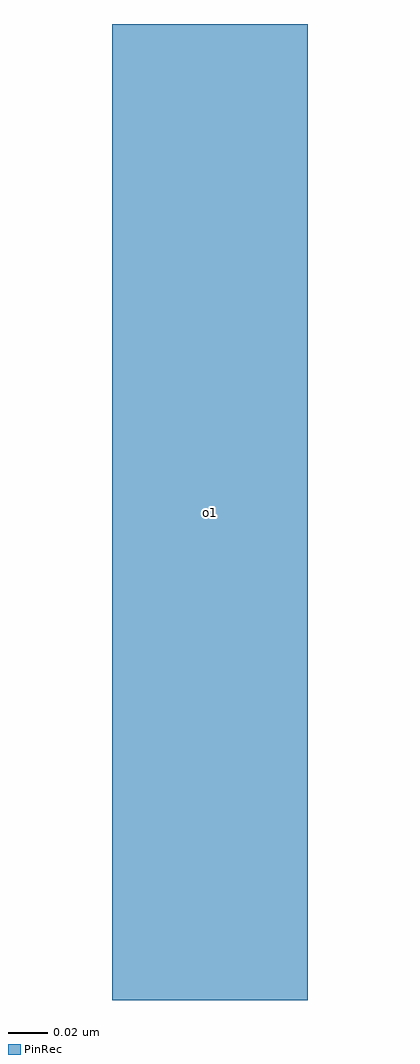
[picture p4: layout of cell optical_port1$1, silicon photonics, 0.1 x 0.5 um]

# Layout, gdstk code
import gdstk
lib = gdstk.Library(unit=1e-6, precision=1e-09)
PinRec = (1, 10)

optical_port1_1 = lib.new_cell('optical_port1$1')
optical_port1_1.add(gdstk.FlexPath([(0.05,0),(-0.05,0)], 0.5, ends="flush", simple_path=True, layer=1, datatype=10))  # PinRec
optical_port1_1.add(gdstk.FlexPath([(0.05,0),(-0.05,0)], 0.5, ends="flush", simple_path=True, layer=1, datatype=10))  # PinRec
optical_port1_1.add(gdstk.FlexPath([(0.05,0),(-0.05,0)], 0.5, ends="flush", simple_path=True, layer=1, datatype=10))  # PinRec
optical_port1_1.add(gdstk.FlexPath([(0.05,0),(-0.05,0)], 0.5, ends="flush", simple_path=True, layer=1, datatype=10))  # PinRec
optical_port1_1.add(gdstk.FlexPath([(0.05,0),(-0.05,0)], 0.5, ends="flush", simple_path=True, layer=1, datatype=10))  # PinRec
optical_port1_1.add(gdstk.FlexPath([(0.05,0),(-0.05,0)], 0.5, ends="flush", simple_path=True, layer=1, datatype=10))  # PinRec
optical_port1_1.add(gdstk.FlexPath([(0.05,0),(-0.05,0)], 0.5, ends="flush", simple_path=True, layer=1, datatype=10))  # PinRec
optical_port1_1.add(gdstk.FlexPath([(0.05,0),(-0.05,0)], 0.5, ends="flush", simple_path=True, layer=1, datatype=10))  # PinRec
optical_port1_1.add(gdstk.FlexPath([(0.05,0),(-0.05,0)], 0.5, ends="flush", simple_path=True, layer=1, datatype=10))  # PinRec
optical_port1_1.add(gdstk.FlexPath([(0.05,0),(-0.05,0)], 0.5, ends="flush", simple_path=True, layer=1, datatype=10))  # PinRec
optical_port1_1.add(gdstk.FlexPath([(0.05,0),(-0.05,0)], 0.5, ends="flush", simple_path=True, layer=1, datatype=10))  # PinRec
optical_port1_1.add(gdstk.FlexPath([(0.05,0),(-0.05,0)], 0.5, ends="flush", simple_path=True, layer=1, datatype=10))  # PinRec
optical_port1_1.add(gdstk.FlexPath([(0.05,0),(-0.05,0)], 0.5, ends="flush", simple_path=True, layer=1, datatype=10))  # PinRec
optical_port1_1.add(gdstk.FlexPath([(0.05,0),(-0.05,0)], 0.5, ends="flush", simple_path=True, layer=1, datatype=10))  # PinRec
optical_port1_1.add(gdstk.FlexPath([(0.05,0),(-0.05,0)], 0.5, ends="flush", simple_path=True, layer=1, datatype=10))  # PinRec
optical_port1_1.add(gdstk.FlexPath([(0.05,0),(-0.05,0)], 0.5, ends="flush", simple_path=True, layer=1, datatype=10))  # PinRec
optical_port1_1.add(gdstk.FlexPath([(0.05,0),(-0.05,0)], 0.5, ends="flush", simple_path=True, layer=1, datatype=10))  # PinRec
optical_port1_1.add(gdstk.FlexPath([(0.05,0),(-0.05,0)], 0.5, ends="flush", simple_path=True, layer=1, datatype=10))  # PinRec
optical_port1_1.add(gdstk.FlexPath([(0.05,0),(-0.05,0)], 0.5, ends="flush", simple_path=True, layer=1, datatype=10))  # PinRec
optical_port1_1.add(gdstk.FlexPath([(0.05,0),(-0.05,0)], 0.5, ends="flush", simple_path=True, layer=1, datatype=10))  # PinRec
optical_port1_1.add(gdstk.FlexPath([(0.05,0),(-0.05,0)], 0.5, ends="flush", simple_path=True, layer=1, datatype=10))  # PinRec
optical_port1_1.add(gdstk.FlexPath([(0.05,0),(-0.05,0)], 0.5, ends="flush", simple_path=True, layer=1, datatype=10))  # PinRec
optical_port1_1.add(gdstk.FlexPath([(0.05,0),(-0.05,0)], 0.5, ends="flush", simple_path=True, layer=1, datatype=10))  # PinRec
optical_port1_1.add(gdstk.FlexPath([(0.05,0),(-0.05,0)], 0.5, ends="flush", simple_path=True, layer=1, datatype=10))  # PinRec
optical_port1_1.add(gdstk.FlexPath([(0.05,0),(-0.05,0)], 0.5, ends="flush", simple_path=True, layer=1, datatype=10))  # PinRec
optical_port1_1.add(gdstk.FlexPath([(0.05,0),(-0.05,0)], 0.5, ends="flush", simple_path=True, layer=1, datatype=10))  # PinRec
optical_port1_1.add(gdstk.FlexPath([(0.05,0),(-0.05,0)], 0.5, ends="flush", simple_path=True, layer=1, datatype=10))  # PinRec
optical_port1_1.add(gdstk.FlexPath([(0.05,0),(-0.05,0)], 0.5, ends="flush", simple_path=True, layer=1, datatype=10))  # PinRec
optical_port1_1.add(gdstk.FlexPath([(0.05,0),(-0.05,0)], 0.5, ends="flush", simple_path=True, layer=1, datatype=10))  # PinRec
optical_port1_1.add(gdstk.FlexPath([(0.05,0),(-0.05,0)], 0.5, ends="flush", simple_path=True, layer=1, datatype=10))  # PinRec
optical_port1_1.add(gdstk.FlexPath([(0.05,0),(-0.05,0)], 0.5, ends="flush", simple_path=True, layer=1, datatype=10))  # PinRec
optical_port1_1.add(gdstk.FlexPath([(0.05,0),(-0.05,0)], 0.5, ends="flush", simple_path=True, layer=1, datatype=10))  # PinRec
optical_port1_1.add(gdstk.FlexPath([(0.05,0),(-0.05,0)], 0.5, ends="flush", simple_path=True, layer=1, datatype=10))  # PinRec
optical_port1_1.add(gdstk.FlexPath([(0.05,0),(-0.05,0)], 0.5, ends="flush", simple_path=True, layer=1, datatype=10))  # PinRec
optical_port1_1.add(gdstk.FlexPath([(0.05,0),(-0.05,0)], 0.5, ends="flush", simple_path=True, layer=1, datatype=10))  # PinRec
optical_port1_1.add(gdstk.FlexPath([(0.05,0),(-0.05,0)], 0.5, ends="flush", simple_path=True, layer=1, datatype=10))  # PinRec
optical_port1_1.add(gdstk.FlexPath([(0.05,0),(-0.05,0)], 0.5, ends="flush", simple_path=True, layer=1, datatype=10))  # PinRec
optical_port1_1.add(gdstk.FlexPath([(0.05,0),(-0.05,0)], 0.5, ends="flush", simple_path=True, layer=1, datatype=10))  # PinRec
optical_port1_1.add(gdstk.FlexPath([(0.05,0),(-0.05,0)], 0.5, ends="flush", simple_path=True, layer=1, datatype=10))  # PinRec
optical_port1_1.add(gdstk.FlexPath([(0.05,0),(-0.05,0)], 0.5, ends="flush", simple_path=True, layer=1, datatype=10))  # PinRec
optical_port1_1.add(gdstk.FlexPath([(0.05,0),(-0.05,0)], 0.5, ends="flush", simple_path=True, layer=1, datatype=10))  # PinRec
optical_port1_1.add(gdstk.FlexPath([(0.05,0),(-0.05,0)], 0.5, ends="flush", simple_path=True, layer=1, datatype=10))  # PinRec
optical_port1_1.add(gdstk.Label('o1', (0,0), layer=1, texttype=10))
optical_port1_1.add(gdstk.Label('o1', (0,0), layer=1, texttype=10))
optical_port1_1.add(gdstk.Label('o1', (0,0), layer=1, texttype=10))
optical_port1_1.add(gdstk.Label('o1', (0,0), layer=1, texttype=10))
optical_port1_1.add(gdstk.Label('o1', (0,0), layer=1, texttype=10))
optical_port1_1.add(gdstk.Label('o1', (0,0), layer=1, texttype=10))
optical_port1_1.add(gdstk.Label('o1', (0,0), layer=1, texttype=10))
optical_port1_1.add(gdstk.Label('o1', (0,0), layer=1, texttype=10))
optical_port1_1.add(gdstk.Label('o1', (0,0), layer=1, texttype=10))
optical_port1_1.add(gdstk.Label('o1', (0,0), layer=1, texttype=10))
optical_port1_1.add(gdstk.Label('o1', (0,0), layer=1, texttype=10))
optical_port1_1.add(gdstk.Label('o1', (0,0), layer=1, texttype=10))
optical_port1_1.add(gdstk.Label('o1', (0,0), layer=1, texttype=10))
optical_port1_1.add(gdstk.Label('o1', (0,0), layer=1, texttype=10))
optical_port1_1.add(gdstk.Label('o1', (0,0), layer=1, texttype=10))
optical_port1_1.add(gdstk.Label('o1', (0,0), layer=1, texttype=10))
optical_port1_1.add(gdstk.Label('o1', (0,0), layer=1, texttype=10))
optical_port1_1.add(gdstk.Label('o1', (0,0), layer=1, texttype=10))
optical_port1_1.add(gdstk.Label('o1', (0,0), layer=1, texttype=10))
optical_port1_1.add(gdstk.Label('o1', (0,0), layer=1, texttype=10))
optical_port1_1.add(gdstk.Label('o1', (0,0), layer=1, texttype=10))
optical_port1_1.add(gdstk.Label('o1', (0,0), layer=1, texttype=10))
optical_port1_1.add(gdstk.Label('o1', (0,0), layer=1, texttype=10))
optical_port1_1.add(gdstk.Label('o1', (0,0), layer=1, texttype=10))
optical_port1_1.add(gdstk.Label('o1', (0,0), layer=1, texttype=10))
optical_port1_1.add(gdstk.Label('o1', (0,0), layer=1, texttype=10))
optical_port1_1.add(gdstk.Label('o1', (0,0), layer=1, texttype=10))
optical_port1_1.add(gdstk.Label('o1', (0,0), layer=1, texttype=10))
optical_port1_1.add(gdstk.Label('o1', (0,0), layer=1, texttype=10))
optical_port1_1.add(gdstk.Label('o1', (0,0), layer=1, texttype=10))
optical_port1_1.add(gdstk.Label('o1', (0,0), layer=1, texttype=10))
optical_port1_1.add(gdstk.Label('o1', (0,0), layer=1, texttype=10))
optical_port1_1.add(gdstk.Label('o1', (0,0), layer=1, texttype=10))
optical_port1_1.add(gdstk.Label('o1', (0,0), layer=1, texttype=10))
optical_port1_1.add(gdstk.Label('o1', (0,0), layer=1, texttype=10))
optical_port1_1.add(gdstk.Label('o1', (0,0), layer=1, texttype=10))
optical_port1_1.add(gdstk.Label('o1', (0,0), layer=1, texttype=10))
optical_port1_1.add(gdstk.Label('o1', (0,0), layer=1, texttype=10))
optical_port1_1.add(gdstk.Label('o1', (0,0), layer=1, texttype=10))
optical_port1_1.add(gdstk.Label('o1', (0,0), layer=1, texttype=10))
optical_port1_1.add(gdstk.Label('o1', (0,0), layer=1, texttype=10))
optical_port1_1.add(gdstk.Label('o1', (0,0), layer=1, texttype=10))

lib.write_gds('optical_port1_1.gds')
